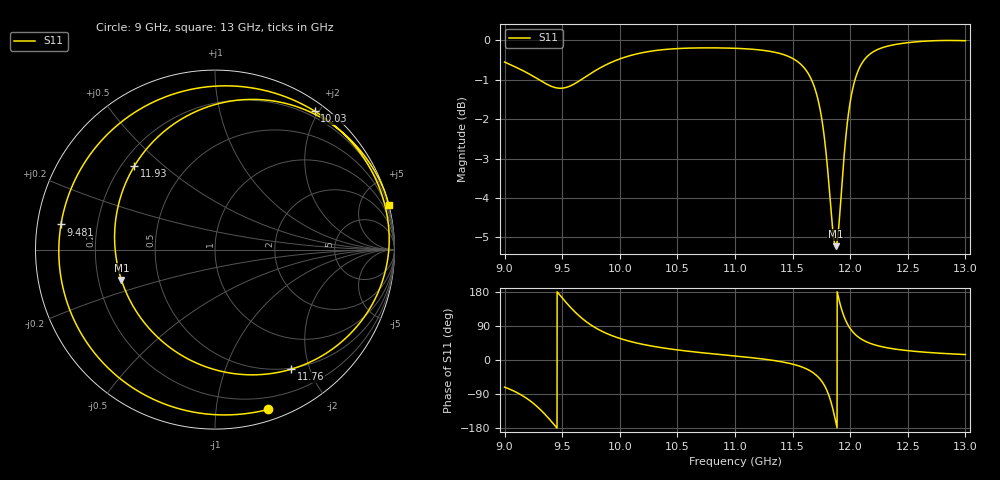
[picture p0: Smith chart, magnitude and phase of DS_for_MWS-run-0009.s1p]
! TOUCHSTONE file generated by CST DESIGN STUDIO
! Date and time: Tue Feb  4 13:58:14 2025
! Project name: C:\Work\MatlabApps\UnitCellOptimizationMatlab\CST\unitcell.cst
! Tree item: Tasks\Sweep1\SPara1\S-Parameters
! Header version: 2024
! Port assignment regex: !\s*Touchstone port\s*([0-9]+)\s*=\s*(CST MWS port|CST DES external port|CST DES block port)\s*(.+)\s* \(\"(.*)\"\)(\s*mode\s*([0-9]+))?.*
! Touchstone port assignment:
! Touchstone port 1 = CST DES external port 1 ("")
# GHz S MA R 50
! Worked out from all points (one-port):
!   4001 points, 9 GHz to 13 GHz, reference 50 ohm
!   lowest |S11| = -5.2 dB at 11.87 GHz (marker M1), VSWR 3.43, Z = 14.9 - j7.25 ohm
!   |S11| at or under -10 dB: nowhere
!   S11 on the Smith chart (normalised r, x): 9 GHz: 0.09, -1.38; 9.481 GHz: 0.07, +0.08; 10.03 GHz: 0.12, +1.95; 11.76 GHz: 0.48, -1.72; 11.93 GHz: 0.25, +0.40; 13 GHz: 0.03, +7.94
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9  0.9388 -71.6
9.158  0.9156 -94.7
9.267  0.8973 -118.8
9.39  0.8765 -156.5
9.481  0.8696 170.7
9.5  0.8698 163.9
9.598  0.8796 130.8
9.696  0.8978 104.1
9.842  0.9251 76.2
10  0.9474 57.0
10.029  0.9506 54.2
10.233  0.967 39.3
10.5  0.9764 26.6
11  0.9772 10.6
11.5  0.9488 -10.9
11.658  0.8953 -29.6
11.756  0.7904 -57.4
11.82  0.6444 -97.9
11.846  0.58 -125.1
11.874  0.5482 -161.9
11.899  0.5766 164.0
11.925  0.6467 134.0
11.96  0.749 104.9
12  0.8356 83.0
12.072  0.9175 60.2
12.165  0.9592 44.9
12.5  0.9934 24.7
13  0.9991 14.4
